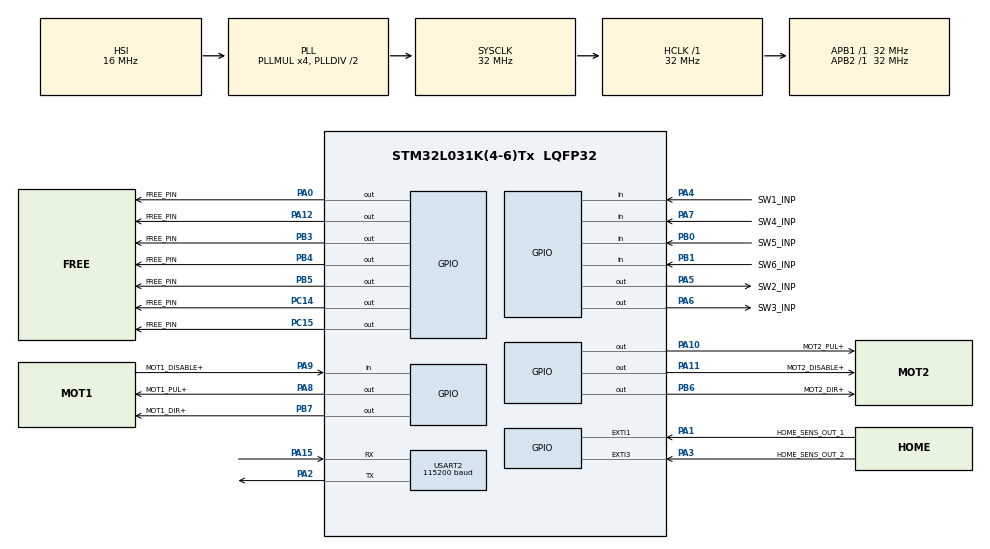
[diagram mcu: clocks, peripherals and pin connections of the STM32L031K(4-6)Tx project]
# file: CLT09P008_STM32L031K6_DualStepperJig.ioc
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Mcu.Family=STM32L0
Mcu.Name=STM32L031K(4-6)Tx
Mcu.Package=LQFP32
NVIC.EXTI0_1_IRQn=true\:0\:0\:false\:false\:true\:true\:true\:true
NVIC.EXTI2_3_IRQn=true\:0\:0\:false\:false\:true\:true\:true\:true
NVIC.TIM21_IRQn=true\:0\:0\:true\:false\:true\:true\:true\:true
NVIC.TIM2_IRQn=true\:0\:0\:true\:false\:true\:true\:true\:true
NVIC.USART2_IRQn=true\:3\:0\:true\:false\:true\:true\:true\:true
PA0-CK_IN.GPIO_Label=FREE_PIN
PA0-CK_IN.Signal=GPIO_Output
PA1.GPIO_Label=HOME_SENS_OUT_1
PA1.GPIO_PuPd=GPIO_PULLUP
PA1.Signal=GPXTI1
PA10.GPIO_Label=MOT2_PUL+
PA10.GPIO_Speed=GPIO_SPEED_FREQ_VERY_HIGH
PA10.Signal=GPIO_Output
PA11.GPIO_Label=MOT2_DISABLE+
PA11.Signal=GPIO_Output
PA12.GPIO_Label=FREE_PIN
PA12.Signal=GPIO_Output
PA13.Mode=Serial_Wire
PA13.Signal=SYS_SWDIO
PA14.Mode=Serial_Wire
PA14.Signal=SYS_SWCLK
PA15.Mode=Asynchronous
PA15.Signal=USART2_RX
PA2.Mode=Asynchronous
PA2.Signal=USART2_TX
PA3.GPIO_Label=HOME_SENS_OUT_2
PA3.GPIO_PuPd=GPIO_PULLUP
PA3.Signal=GPXTI3
PA4.GPIO_Label=SW1_INP
PA4.GPIO_PuPd=GPIO_PULLUP
PA4.Signal=GPIO_Input
PA5.GPIO_Label=SW2_INP
PA5.PinState=GPIO_PIN_SET
PA5.Signal=GPIO_Output
PA6.GPIO_Label=SW3_INP
PA6.PinState=GPIO_PIN_SET
PA6.Signal=GPIO_Output
PA7.GPIO_Label=SW4_INP
PA7.GPIO_PuPd=GPIO_PULLUP
PA7.Signal=GPIO_Input
PA8.GPIO_Label=MOT1_PUL+
PA8.GPIO_Speed=GPIO_SPEED_FREQ_VERY_HIGH
PA8.Signal=GPIO_Output
PA9.GPIO_Label=MOT1_DISABLE+
PA9.Signal=GPIO_Input
PB0.GPIO_Label=SW5_INP
PB0.GPIO_PuPd=GPIO_PULLUP
PB0.Signal=GPIO_Input
PB1.GPIO_Label=SW6_INP
PB1.GPIO_PuPd=GPIO_PULLUP
PB1.Signal=GPIO_Input
PB3.GPIO_Label=FREE_PIN
PB3.Signal=GPIO_Output
PB4.GPIO_Label=FREE_PIN
PB4.Signal=GPIO_Output
PB5.GPIO_Label=FREE_PIN
PB5.Signal=GPIO_Output
PB6.GPIO_Label=MOT2_DIR+
PB6.GPIO_Speed=GPIO_SPEED_FREQ_VERY_HIGH
PB6.Signal=GPIO_Output
PB7.GPIO_Label=MOT1_DIR+
PB7.GPIO_Speed=GPIO_SPEED_FREQ_VERY_HIGH
PB7.Signal=GPIO_Output
PC14-OSC32_IN.GPIO_Label=FREE_PIN
PC14-OSC32_IN.Signal=GPIO_Output
PC15-OSC32_OUT.GPIO_Label=FREE_PIN
PC15-OSC32_OUT.Signal=GPIO_Output
ProjectManager.HeapSize=0x200
ProjectManager.StackSize=0x400
ProjectManager.TargetToolchain=STM32CubeIDE
RCC.AHBFreq_Value=32000000
RCC.APB1Freq_Value=32000000
RCC.APB1TimFreq_Value=32000000
RCC.APB2Freq_Value=32000000
RCC.APB2TimFreq_Value=32000000
RCC.HCLKFreq_Value=32000000
RCC.HSE_VALUE=8000000
RCC.HSI16_VALUE=16000000
RCC.HSI_VALUE=16000000
RCC.LSE_VALUE=32768
RCC.MSI_VALUE=2097000
RCC.PLLMUL=RCC_PLLMUL_4
RCC.SYSCLKFreq_VALUE=32000000
RCC.SYSCLKSource=RCC_SYSCLKSOURCE_PLLCLK
RCC.VCOOutputFreq_Value=64000000
USART2.BaudRate=115200
USART2.VirtualMode-Asynchronous=VM_ASYNC
VP_TIM21_VS_ClockSourceINT.Mode=Internal
VP_TIM2_VS_ClockSourceINT.Mode=Internal
board=custom

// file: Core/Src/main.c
/* USER CODE BEGIN Header */
/**
  ******************************************************************************
  * @file           : main.c
  * @brief          : Main program body
  ******************************************************************************
  * @attention
  *
  * Copyright (c) 2026 STMicroelectronics.
  * All rights reserved.
  *
  * This software is licensed under terms that can be found in the LICENSE file
  * in the root directory of this software component.
  * If no LICENSE file comes with this software, it is provided AS-IS.
  *
  ******************************************************************************
  */
/* USER CODE END Header */
#include "main.h"

/* USER CODE BEGIN Includes */
#include "Drv_DM556.h"
#include "Drv_Uart.h"
#include "App_StepperLinearGuide.h"
#include "Appl_PacketHandler.h"
#include "ApplicationLayer.h"
/* USER CODE END Includes */

TIM_HandleTypeDef htim2;
TIM_HandleTypeDef htim21;

UART_HandleTypeDef huart2;

void SystemClock_Config(void);
static void MX_GPIO_Init(void);
static void MX_TIM2_Init(void);
static void MX_TIM21_Init(void);
static void MX_USART2_UART_Init(void);

/* USER CODE BEGIN 0 */
/******************************.FUNCTION_HEADER.******************************
.Purpose : This function serve as one time call function of application layer
.Returns :
.Note : use this function for all major initilization
******************************************************************************/
TIM_HandleTypeDef* GetInstance_Timer2(void)
{
	return (&(htim2));
}
/******************************.FUNCTION_HEADER.******************************
.Purpose : This function serve as one time call function of application layer
.Returns :
.Note : use this function for all major initilization
******************************************************************************/
TIM_HandleTypeDef* GetInstance_Timer21(void)
{
	return (&(htim21));
}
/******************************.FUNCTION_HEADER.******************************
.Purpose : This function serve as one time call function of application layer
.Returns :
.Note : use this function for all major initilization
******************************************************************************/
UART_HandleTypeDef* GetInstance_UART2(void)
{
	return (&(huart2));
}
/******************************.FUNCTION_HEADER.******************************
.Purpose : This function serve as one time call function of application layer
.Returns :
.Note : use this function for all major initilization
******************************************************************************/
void HAL_GPIO_EXTI_Callback(uint16_t GPIO_Pin)
{
	switch(GPIO_Pin)
	{
		case(HOME_SENS_OUT_1_Pin):
		{
			CallBack_HomeSensDetectMotorX();
		}break;
		case(HOME_SENS_OUT_2_Pin):
		{
			CallBack_HomeSensDetectMotorY();
		}break;
	}
}
/******************************.FUNCTION_HEADER.******************************
.Purpose : This function serve as one time call function of application layer
.Returns :
.Note : use this function for all major initilization
******************************************************************************/
void HAL_TIM_PeriodElapsedCallback(TIM_HandleTypeDef *htim)
{
	if(TIM2 == htim->Instance)
	{
		Callback_StepperTimer_MotX();
	}

	if(TIM21 == htim->Instance)
	{
		Callback_StepperTimer_MotY();
	}
}
/*********************.HAL_I2C_MasterTxCpltCallback().************************
 .Purpose        : Callback for transmission complete for IT & DMA
 .Returns        :  RETURN_ERROR
					RETURN_SUCCESS
 .Note           :
 ****************************************************************************/
void HAL_UART_TxCpltCallback(UART_HandleTypeDef *huart)
{
	if (huart->Instance == USART2)
	{
		uart_TransmitCallback((UART_HandleTypeDef*)huart);
	}
}
/*********************.HAL_I2C_MasterTxCpltCallback().************************
 .Purpose        : Callback for transmission complete for IT & DMA
 .Returns        :  RETURN_ERROR
					RETURN_SUCCESS
 .Note           :
 ****************************************************************************/
void HAL_UARTEx_RxEventCallback(UART_HandleTypeDef *huart, uint16_t Size)
{
	if (huart->Instance == USART2)
	{
		uart_ReceiveCallback((UART_HandleTypeDef*)huart , Size);
	}
}
/* USER CODE END 0 */

int main(void)
{

  /* MCU Configuration--------------------------------------------------------*/

  /* Reset of all peripherals, Initializes the Flash interface and the Systick. */
  HAL_Init();

  /* Configure the system clock */
  SystemClock_Config();

  /* Initialize all configured peripherals */
  MX_GPIO_Init();
  MX_TIM2_Init();
  MX_TIM21_Init();
  MX_USART2_UART_Init();

  /* Infinite loop */
  /* USER CODE BEGIN WHILE */
  ApplicationLayer_Init();/*Application layer code init*/
  while (1)
  {
	  ApplicationLayer_Exe();/*Application layer code exe (SUPER LOOP)*/
    /* USER CODE END WHILE */

  }
}

void SystemClock_Config(void)
{
  RCC_OscInitTypeDef RCC_OscInitStruct = {0};
  RCC_ClkInitTypeDef RCC_ClkInitStruct = {0};
  RCC_PeriphCLKInitTypeDef PeriphClkInit = {0};

  /** Configure the main internal regulator output voltage
  */
  __HAL_PWR_VOLTAGESCALING_CONFIG(PWR_REGULATOR_VOLTAGE_SCALE1);

  /** Initializes the RCC Oscillators according to the specified parameters
  * in the RCC_OscInitTypeDef structure.
  */
  RCC_OscInitStruct.OscillatorType = RCC_OSCILLATORTYPE_HSI;
  RCC_OscInitStruct.HSIState = RCC_HSI_ON;
  RCC_OscInitStruct.HSICalibrationValue = RCC_HSICALIBRATION_DEFAULT;
  RCC_OscInitStruct.PLL.PLLState = RCC_PLL_ON;
  RCC_OscInitStruct.PLL.PLLSource = RCC_PLLSOURCE_HSI;
  RCC_OscInitStruct.PLL.PLLMUL = RCC_PLLMUL_4;
  RCC_OscInitStruct.PLL.PLLDIV = RCC_PLLDIV_2;
  if (HAL_RCC_OscConfig(&RCC_OscInitStruct) != HAL_OK)
  {
    Error_Handler();
  }

  /** Initializes the CPU, AHB and APB buses clocks
  */
  RCC_ClkInitStruct.ClockType = RCC_CLOCKTYPE_HCLK|RCC_CLOCKTYPE_SYSCLK
                              |RCC_CLOCKTYPE_PCLK1|RCC_CLOCKTYPE_PCLK2;
  RCC_ClkInitStruct.SYSCLKSource = RCC_SYSCLKSOURCE_PLLCLK;
  RCC_ClkInitStruct.AHBCLKDivider = RCC_SYSCLK_DIV1;
  RCC_ClkInitStruct.APB1CLKDivider = RCC_HCLK_DIV1;
  RCC_ClkInitStruct.APB2CLKDivider = RCC_HCLK_DIV1;

  if (HAL_RCC_ClockConfig(&RCC_ClkInitStruct, FLASH_LATENCY_1) != HAL_OK)
  {
    Error_Handler();
  }
  PeriphClkInit.PeriphClockSelection = RCC_PERIPHCLK_USART2;
  PeriphClkInit.Usart2ClockSelection = RCC_USART2CLKSOURCE_PCLK1;
  if (HAL_RCCEx_PeriphCLKConfig(&PeriphClkInit) != HAL_OK)
  {
    Error_Handler();
  }
}

static void MX_TIM2_Init(void)
{

  TIM_ClockConfigTypeDef sClockSourceConfig = {0};
  TIM_MasterConfigTypeDef sMasterConfig = {0};

  htim2.Instance = TIM2;
  htim2.Init.Prescaler = 0;
  htim2.Init.CounterMode = TIM_COUNTERMODE_UP;
  htim2.Init.Period = 65535;
  htim2.Init.ClockDivision = TIM_CLOCKDIVISION_DIV1;
  htim2.Init.AutoReloadPreload = TIM_AUTORELOAD_PRELOAD_DISABLE;
  if (HAL_TIM_Base_Init(&htim2) != HAL_OK)
  {
    Error_Handler();
  }
  sClockSourceConfig.ClockSource = TIM_CLOCKSOURCE_INTERNAL;
  if (HAL_TIM_ConfigClockSource(&htim2, &sClockSourceConfig) != HAL_OK)
  {
    Error_Handler();
  }
  sMasterConfig.MasterOutputTrigger = TIM_TRGO_RESET;
  sMasterConfig.MasterSlaveMode = TIM_MASTERSLAVEMODE_DISABLE;
  if (HAL_TIMEx_MasterConfigSynchronization(&htim2, &sMasterConfig) != HAL_OK)
  {
    Error_Handler();
  }

}

static void MX_TIM21_Init(void)
{

  TIM_ClockConfigTypeDef sClockSourceConfig = {0};
  TIM_MasterConfigTypeDef sMasterConfig = {0};

  htim21.Instance = TIM21;
  htim21.Init.Prescaler = 0;
  htim21.Init.CounterMode = TIM_COUNTERMODE_UP;
  htim21.Init.Period = 65535;
  htim21.Init.ClockDivision = TIM_CLOCKDIVISION_DIV1;
  htim21.Init.AutoReloadPreload = TIM_AUTORELOAD_PRELOAD_DISABLE;
  if (HAL_TIM_Base_Init(&htim21) != HAL_OK)
  {
    Error_Handler();
  }
  sClockSourceConfig.ClockSource = TIM_CLOCKSOURCE_INTERNAL;
  if (HAL_TIM_ConfigClockSource(&htim21, &sClockSourceConfig) != HAL_OK)
  {
    Error_Handler();
  }
  sMasterConfig.MasterOutputTrigger = TIM_TRGO_RESET;
  sMasterConfig.MasterSlaveMode = TIM_MASTERSLAVEMODE_DISABLE;
  if (HAL_TIMEx_MasterConfigSynchronization(&htim21, &sMasterConfig) != HAL_OK)
  {
    Error_Handler();
  }

}

static void MX_USART2_UART_Init(void)
{

  huart2.Instance = USART2;
  huart2.Init.BaudRate = 115200;
  huart2.Init.WordLength = UART_WORDLENGTH_8B;
  huart2.Init.StopBits = UART_STOPBITS_1;
  huart2.Init.Parity = UART_PARITY_NONE;
  huart2.Init.Mode = UART_MODE_TX_RX;
  huart2.Init.HwFlowCtl = UART_HWCONTROL_NONE;
  huart2.Init.OverSampling = UART_OVERSAMPLING_16;
  huart2.Init.OneBitSampling = UART_ONE_BIT_SAMPLE_DISABLE;
  huart2.AdvancedInit.AdvFeatureInit = UART_ADVFEATURE_NO_INIT;
  if (HAL_UART_Init(&huart2) != HAL_OK)
  {
    Error_Handler();
  }

}

static void MX_GPIO_Init(void)
{
  GPIO_InitTypeDef GPIO_InitStruct = {0};

  /* GPIO Ports Clock Enable */
  __HAL_RCC_GPIOC_CLK_ENABLE();
  __HAL_RCC_GPIOA_CLK_ENABLE();
  __HAL_RCC_GPIOB_CLK_ENABLE();

  /*Configure GPIO pin Output Level */
  HAL_GPIO_WritePin(GPIOC, GPIO_PIN_14|GPIO_PIN_15, GPIO_PIN_RESET);

  /*Configure GPIO pin Output Level */
  HAL_GPIO_WritePin(GPIOA, GPIO_PIN_0|MOT1_PUL__Pin|MOT2_PUL__Pin|MOT2_DISABLE__Pin
                          |GPIO_PIN_12, GPIO_PIN_RESET);

  /*Configure GPIO pin Output Level */
  HAL_GPIO_WritePin(GPIOA, SW2_INP_Pin|SW3_INP_Pin, GPIO_PIN_SET);

  /*Configure GPIO pin Output Level */
  HAL_GPIO_WritePin(GPIOB, GPIO_PIN_3|GPIO_PIN_4|FREE_PIN_Pin|MOT2_DIR__Pin
                          |MOT1_DIR__Pin, GPIO_PIN_RESET);

  /*Configure GPIO pins : PC14 PC15 */
  GPIO_InitStruct.Pin = GPIO_PIN_14|GPIO_PIN_15;
  GPIO_InitStruct.Mode = GPIO_MODE_OUTPUT_PP;
  GPIO_InitStruct.Pull = GPIO_NOPULL;
  GPIO_InitStruct.Speed = GPIO_SPEED_FREQ_LOW;
  HAL_GPIO_Init(GPIOC, &GPIO_InitStruct);

  /*Configure GPIO pins : PA0 SW2_INP_Pin SW3_INP_Pin MOT2_DISABLE__Pin
                           PA12 */
  GPIO_InitStruct.Pin = GPIO_PIN_0|SW2_INP_Pin|SW3_INP_Pin|MOT2_DISABLE__Pin
                          |GPIO_PIN_12;
  GPIO_InitStruct.Mode = GPIO_MODE_OUTPUT_PP;
  GPIO_InitStruct.Pull = GPIO_NOPULL;
  GPIO_InitStruct.Speed = GPIO_SPEED_FREQ_LOW;
  HAL_GPIO_Init(GPIOA, &GPIO_InitStruct);

  /*Configure GPIO pins : HOME_SENS_OUT_1_Pin HOME_SENS_OUT_2_Pin */
  GPIO_InitStruct.Pin = HOME_SENS_OUT_1_Pin|HOME_SENS_OUT_2_Pin;
  GPIO_InitStruct.Mode = GPIO_MODE_IT_RISING;
  GPIO_InitStruct.Pull = GPIO_PULLUP;
  HAL_GPIO_Init(GPIOA, &GPIO_InitStruct);

  /*Configure GPIO pins : SW1_INP_Pin SW4_INP_Pin */
  GPIO_InitStruct.Pin = SW1_INP_Pin|SW4_INP_Pin;
  GPIO_InitStruct.Mode = GPIO_MODE_INPUT;
  GPIO_InitStruct.Pull = GPIO_PULLUP;
  HAL_GPIO_Init(GPIOA, &GPIO_InitStruct);

  /*Configure GPIO pins : SW5_INP_Pin SW6_INP_Pin */
  GPIO_InitStruct.Pin = SW5_INP_Pin|SW6_INP_Pin;
  GPIO_InitStruct.Mode = GPIO_MODE_INPUT;
  GPIO_InitStruct.Pull = GPIO_PULLUP;
  HAL_GPIO_Init(GPIOB, &GPIO_InitStruct);

  /*Configure GPIO pins : MOT1_PUL__Pin MOT2_PUL__Pin */
  GPIO_InitStruct.Pin = MOT1_PUL__Pin|MOT2_PUL__Pin;
  GPIO_InitStruct.Mode = GPIO_MODE_OUTPUT_PP;
  GPIO_InitStruct.Pull = GPIO_NOPULL;
  GPIO_InitStruct.Speed = GPIO_SPEED_FREQ_VERY_HIGH;
  HAL_GPIO_Init(GPIOA, &GPIO_InitStruct);

  /*Configure GPIO pin : MOT1_DISABLE__Pin */
  GPIO_InitStruct.Pin = MOT1_DISABLE__Pin;
  GPIO_InitStruct.Mode = GPIO_MODE_INPUT;
  GPIO_InitStruct.Pull = GPIO_NOPULL;
  HAL_GPIO_Init(MOT1_DISABLE__GPIO_Port, &GPIO_InitStruct);

  /*Configure GPIO pins : PB3 PB4 FREE_PIN_Pin */
  GPIO_InitStruct.Pin = GPIO_PIN_3|GPIO_PIN_4|FREE_PIN_Pin;
  GPIO_InitStruct.Mode = GPIO_MODE_OUTPUT_PP;
  GPIO_InitStruct.Pull = GPIO_NOPULL;
  GPIO_InitStruct.Speed = GPIO_SPEED_FREQ_LOW;
  HAL_GPIO_Init(GPIOB, &GPIO_InitStruct);

  /*Configure GPIO pins : MOT2_DIR__Pin MOT1_DIR__Pin */
  GPIO_InitStruct.Pin = MOT2_DIR__Pin|MOT1_DIR__Pin;
  GPIO_InitStruct.Mode = GPIO_MODE_OUTPUT_PP;
  GPIO_InitStruct.Pull = GPIO_NOPULL;
  GPIO_InitStruct.Speed = GPIO_SPEED_FREQ_VERY_HIGH;
  HAL_GPIO_Init(GPIOB, &GPIO_InitStruct);

  /* EXTI interrupt init*/
  HAL_NVIC_SetPriority(EXTI0_1_IRQn, 0, 0);
  HAL_NVIC_EnableIRQ(EXTI0_1_IRQn);

  HAL_NVIC_SetPriority(EXTI2_3_IRQn, 0, 0);
  HAL_NVIC_EnableIRQ(EXTI2_3_IRQn);

}

void Error_Handler(void)
{
  __disable_irq();
  while (1)
  {
  }
}
